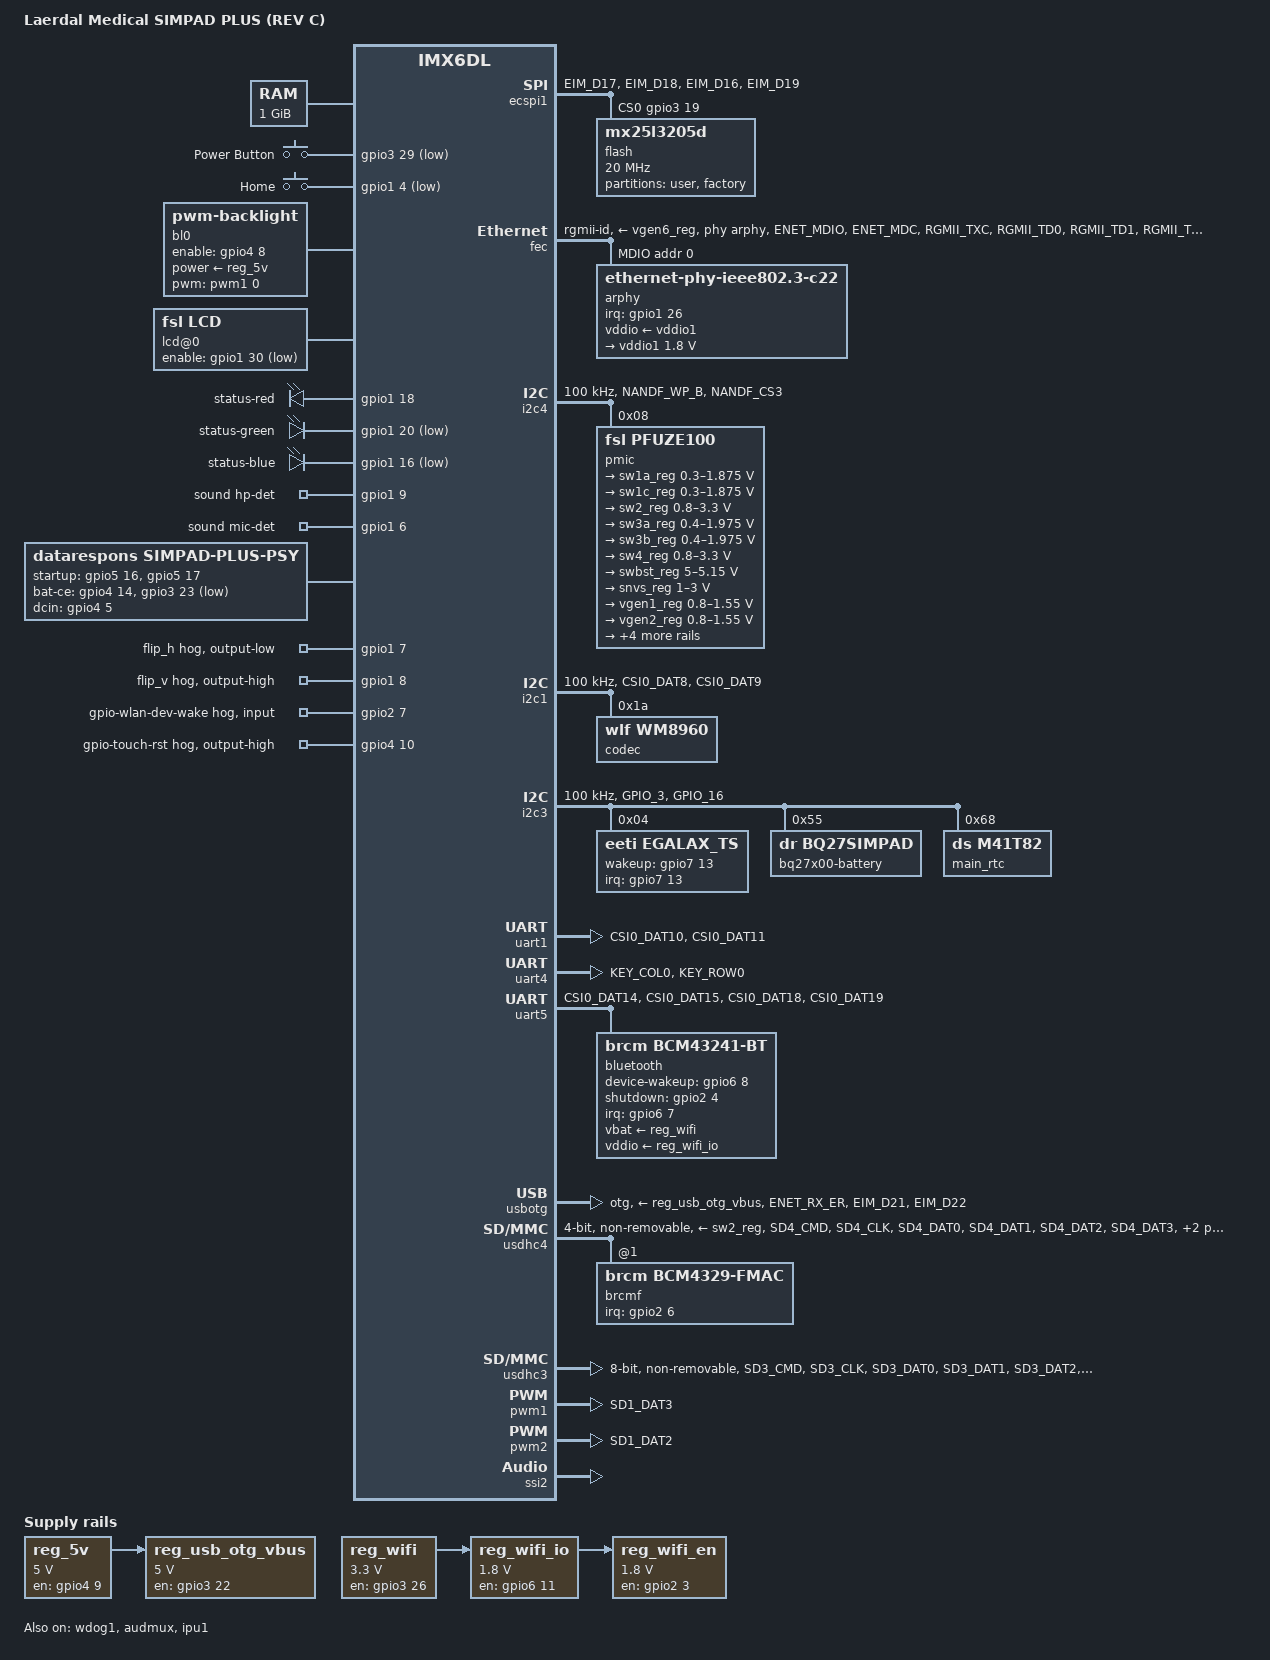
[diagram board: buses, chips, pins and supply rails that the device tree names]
/*
 * Copyright DATA RESPONS AS
 *
 * The code contained herein is licensed under the GNU General Public
 * License. You may obtain a copy of the GNU General Public License
 * Version 2 or later at the following locations:
 *
 * http://www.opensource.org/licenses/gpl-license.html
 * http://www.gnu.org/copyleft/gpl.html
 */
/dts-v1/;

#include "imx6dl.dtsi"
#include <dt-bindings/input/input.h>
#include <dt-bindings/gpio/gpio.h>
#include <dt-bindings/net/qca-ar803x.h>

/ {
	model = "Laerdal Medical SIMPAD PLUS (REV C)";
	compatible = "datarespons,simpad2", "fsl,imx6dl";

	aliases {
		mxcfb0 = &mxcfb1;
		mmc0 = &usdhc3;
		mmc1 = &usdhc4;
		rtc0 = &main_rtc;
	};

	memory {
		device_type = "memory";
		reg = <0x10000000 0x40000000>;
	};

	chosen {
		stdout-path = &uart1;
	};

   clocks {
		bt_clk: clock@1 {
			#clock-cells = <0>;
			compatible = "fixed-clock";
			clock-output-names = "lpo";
			clock-frequency = <32768>;
		};
	};

	regulators {
		compatible = "simple-bus";

		reg_5v: ext_5v {
			compatible = "regulator-fixed";
			regulator-name = "reg-5V";
			regulator-min-microvolt = <5000000>;
			regulator-max-microvolt = <5000000>;
			gpio = <&gpio4 9 0>;
			enable-active-high;
			regulator-always-on;
		};

		reg_wifi: wifi_pwr {
			compatible = "regulator-fixed";
			regulator-name = "reg_wifi";
			regulator-min-microvolt = <3300000>;
			regulator-max-microvolt = <3300000>;
			gpio = <&gpio3 26 0>;
			enable-active-high;
			regulator-always-on;
		};

		reg_wifi_io: wifi_pwr_io {
			compatible = "regulator-fixed";
			regulator-name = "reg_wifi_io";
			regulator-min-microvolt = <1800000>;
			regulator-max-microvolt = <1800000>;
			gpio = <&gpio6 11 0>;
			enable-active-high;
			vin-supply = <&reg_wifi>;
			startup-delay-us = <0>;
			regulator-always-on;
		};

		reg_wifi_en: wifi_enable {
			compatible = "regulator-fixed";
			regulator-name = "reg_wifi_enable";
			regulator-min-microvolt = <1800000>;
			regulator-max-microvolt = <1800000>;
			gpio = <&gpio2 3 0>;
			enable-active-high;
			vin-supply = <&reg_wifi_io>;
			startup-delay-us = <300>;
			regulator-always-on;
		};

/*
		reg_bt_en: bt_enable {
			compatible = "regulator-fixed";
			regulator-name = "reg_bt_enable";
			regulator-min-microvolt = <1800000>;
			regulator-max-microvolt = <1800000>;
			gpio = <&gpio2 4 0>;
			enable-active-high;
			vin-supply = <&reg_wifi_io>;
			startup-delay-us = <300>;
			regulator-always-on;
		};
*/
		reg_usb_otg_vbus: usb_otg_vbus {
			compatible = "regulator-fixed";
			regulator-name = "usb_otg_vbus";
			regulator-min-microvolt = <5000000>;
			regulator-max-microvolt = <5000000>;
			gpio = <&gpio3 22 0>;
			enable-active-high;
			vin-supply = <&reg_5v>;
		};
	};

	gpio-keys {
		compatible = "gpio-keys";
		power {
			label = "Power Button";
			gpios = <&gpio3 29 GPIO_ACTIVE_LOW>;
			linux,code = <KEY_POWER>; /* KEY_POWER */
			gpio-key,wakeup;
		};

		key-function {
			label = "Home";
			gpios = <&gpio1 4 GPIO_ACTIVE_LOW>;
			linux,code = <KEY_F12>;
		};

	};

	bl0: backlight  {
		compatible = "pwm-backlight";
		pwms = <&pwm1 0 25000>;
		brightness-levels = < 0 1 2 3 4 5 6 8  11 16  23  32 48
							  64 81 100 121 144 169 196 225
							  256 289 324 361 400 441 484 529
							  576 625 676 729 784 841 900 961
							  1024 1089 1156 1225 1296 1369 1444 1521
							  1600 1681 1764 1849 1936 2025 2116 2209 >;
		default-brightness-level = <32>;
		power-supply = <&reg_5v>;
		enable-gpios = <&gpio4 8 GPIO_ACTIVE_HIGH>;
		status = "okay";
	};

/*
	lcd_display: disp0 {
		compatible = "fsl,imx-parallel-display";
		#address-cells = <1>;
		#size-cells = <0>;
		interface-pix-fmt = "bgr666";
		pinctrl-names = "default";
		pinctrl-0 = <&pinctrl_ipu1_simpad>;
		status = "okay";

		port@0 {
			reg = <0>;

			lcd_display_in: endpoint {
				remote-endpoint = <&ipu1_di0_disp0>;
			};
		};

		port@1 {
			reg = <1>;

			lcd_display_out: endpoint {
				remote-endpoint = <&lcd_panel_in>;
			};
		};
	};

	panel_dpi: panel-dpi {
		compatible = "panel-dpi";
		backlight = <&bl0>;
		status = "okay";
		enable-gpio = <&gpio1 30 GPIO_ACTIVE_LOW>;
		width-mm = <211>;
		height-mm = <158>;

		panel-timing {
			clock-frequency = <24750000>;
			hactive = <640>;
			vactive = <480>;
			hback-porch = <108>;
			hfront-porch = <16>;
			hsync-len = <30>;
			vback-porch = <32>;
			vfront-porch = <10>;
			vsync-len = <3>;
			de-active = <1>;
			pixelclk-active = <0>;
		};

		port {
			lcd_panel_in: endpoint {
				remote-endpoint = <&lcd_display_out>;
			};
		};
	};
*/

    lcd@0 {
        compatible = "fsl,lcd";
        ipu_id = <0>;
        disp_id = <0>;
        default_ifmt = "RGB666";
        pinctrl-names = "default";
        pinctrl-0 = <&pinctrl_ipu1_simpad>;
        enable-gpios = <&gpio1 30 GPIO_ACTIVE_LOW>;
        status = "okay";
    };

    mxcfb1: fb@0 {
        compatible = "fsl,mxc_sdc_fb";
        disp_dev = "lcd";
        mode_str ="640x480MR-6@60m";
        interface_pix_fmt = "RGB666";
        default_bpp = <16>;
        int_clk = <0>;
        late_init = <0>;
        status = "okay";
    };

	leds {
		compatible = "gpio-leds";
		status-red {
			gpios = <&gpio1 18 GPIO_ACTIVE_HIGH>;
			default-state = "off";
		};

		status-green {
			gpios = <&gpio1 20 GPIO_ACTIVE_LOW>;
			default-state = "on";
			linux,default-trigger = "timer";
		};

		status-blue {
			gpios = <&gpio1 16 GPIO_ACTIVE_LOW>;
			default-state = "off";
		};
	};

	sound {
		compatible = "fsl,lm-imx-audio-wm8960";
		model = "wm8960-audio";
		audio-cpu = <&ssi2>;
		audio-codec = <&codec>;
		audio-routing =
			"Headphone Jack", "HP_L",
			"Headphone Jack", "HP_R",
			"Ext Spk", "SPK_LP",
			"Ext Spk", "SPK_LN",
			"LINPUT1", "AMIC";
		ncpins = "LINPUT2", "LINPUT3", "RINPUT1", "RINPUT2", "RINPUT3", "SPK_RP", "SPK_RN", "OUT3";
		mux-int-port = <2>;
		mux-ext-port = <3>;
		iphone-jack;
		speaker-auto-switch;
		hp-det-gpios = <&gpio1 9 GPIO_ACTIVE_HIGH>;
		mic-det-gpios = <&gpio1 6 GPIO_ACTIVE_HIGH>;
		status = "okay";
	};

	simpad-plus-psy {
		status = "okay";
		compatible = "datarespons,simpad-plus-psy";
		startup-gpios = <&gpio5 16 GPIO_ACTIVE_HIGH &gpio5 17 GPIO_ACTIVE_HIGH>;
		bat-ce-gpios = <&gpio4 14 GPIO_ACTIVE_HIGH &gpio3 23 GPIO_ACTIVE_LOW>;
		dcin-gpio = <&gpio4 5 GPIO_ACTIVE_HIGH>;
	};
};

&gpio1 {
	flip_h {
		gpio-hog;
		gpios = <7 GPIO_ACTIVE_HIGH>;
		output-low;
	};

	flip_v {
		gpio-hog;
		gpios = <8 GPIO_ACTIVE_HIGH>;
		output-high;
	};
};

&gpio2 {
	gpio-wlan-dev-wake {
		gpio-hog;
		gpios = <7 GPIO_ACTIVE_HIGH>;
		outputh-high;
	};
};

&gpio3 {
	gpio-line-names = "", "", "", "", "", "", "", "",
		"", "", "", "", "", "", "", "",
		"", "", "", "", "spinor-wp", "", "", "chg_iset",
		"", "", "", "hwrev0", "hwrev1";
};

&gpio4 {
	gpio-line-names = "", "", "", "", "", "", "", "",
		"", "", "", "hwrev2", "", "", "chg_nce";

	gpio-touch-rst {
		gpio-hog;
		gpios = <10 GPIO_ACTIVE_HIGH>;
		output-high;
	};
};

&ecspi1 {
	fsl,spi-num-chipselects = <1>;
	cs-gpios = <&gpio3 19 0>;
	pinctrl-names = "default";
	pinctrl-0 = <&pinctrl_ecspi1>;
	status = "okay";
	nodma;

	flash: m25p80@0 {
		#address-cells = <1>;
		#size-cells = <1>;
		compatible = "mx25l3205d", "jedec,spi-nor";
		spi-max-frequency = <20000000>;
		reg = <0>;
		partition@0 {
			label = "user";
			reg = <0 0x00200000>;
		};
		partition@200000 {
			label = "factory";
			reg = <0x00200000 0x00200000>;
		};
	};
};


&ecspi2 {
	fsl,spi-num-chipselects = <1>;
	cs-gpios = <&gpio5 12 0>;
	pinctrl-names = "default";
	pinctrl-0 = <&pinctrl_ecspi2>;
	status = "disabled";
};

&fec {
	pinctrl-names = "default";
	pinctrl-0 = <&pinctrl_enet_lm>;
	phy-mode = "rgmii-id";
	phy-reset-gpios = <&gpio1 25 GPIO_ACTIVE_LOW>;
	status = "okay";
	phy-handle = <&arphy>;
	phy-supply = <&vgen6_reg>;
	mdio {
	   #address-cells = <1>;
	   #size-cells = <0>;
		arphy: ethernet-phy@0 {
			compatible = "ethernet-phy-ieee802.3-c22";
			reg = <0>;
			qca,clk-out-frequency = <125000000>;
			qca,disable-smarteee;
			max-speed = <100>;
			interrupt-parent = <&gpio1>;
			interrupts = <26 IRQ_TYPE_EDGE_FALLING>;
			vddio-supply = <&vddio1>;

			vddio1: vddio-regulator {
				regulator-min-microvolt = <1800000>;
				regulator-max-microvolt = <1800000>;
			};
		};
	};
};

&wdog1 {
	status = "okay";
};

&wdog2 {
	status = "disabled";
};

&i2c4 {
	clock-frequency = <100000>;
	pinctrl-names = "default";
	pinctrl-0 = <&pinctrl_i2c4>;
	status = "okay";

		pmic: pfuze100@8 {
		compatible = "fsl,pfuze100";
		reg = <0x08>;

		regulators {
			sw1a_reg: sw1ab {
				regulator-min-microvolt = <300000>;
				regulator-max-microvolt = <1875000>;
				regulator-boot-on;
				regulator-always-on;
				regulator-ramp-delay = <6250>;
			};

			sw1c_reg: sw1c {
				regulator-min-microvolt = <300000>;
				regulator-max-microvolt = <1875000>;
				regulator-boot-on;
				regulator-always-on;
				regulator-ramp-delay = <6250>;
			};

			sw2_reg: sw2 {
				regulator-min-microvolt = <800000>;
				regulator-max-microvolt = <3300000>;
				regulator-boot-on;
				regulator-always-on;
			};

			sw3a_reg: sw3a {
				regulator-min-microvolt = <400000>;
				regulator-max-microvolt = <1975000>;
				regulator-boot-on;
				regulator-always-on;
			};

			sw3b_reg: sw3b {
				regulator-min-microvolt = <400000>;
				regulator-max-microvolt = <1975000>;
				regulator-boot-on;
				regulator-always-on;
			};

			sw4_reg: sw4 {
				regulator-min-microvolt = <800000>;
				regulator-max-microvolt = <3300000>;
				regulator-boot-on;
				regulator-always-on;
			};

			swbst_reg: swbst {
				regulator-min-microvolt = <5000000>;
				regulator-max-microvolt = <5150000>;
				regulator-boot-on;
				regulator-always-on;
			};

			snvs_reg: vsnvs {
				regulator-min-microvolt = <1000000>;
				regulator-max-microvolt = <3000000>;
				regulator-boot-on;
				regulator-always-on;
			};

			vref_reg: vrefddr {
				regulator-boot-on;
				regulator-always-on;
			};

			vgen1_reg: vgen1 {
				regulator-min-microvolt = <800000>;
				regulator-max-microvolt = <1550000>;
			};

			vgen2_reg: vgen2 {
				regulator-min-microvolt = <800000>;
				regulator-max-microvolt = <1550000>;
			};

			vgen3_reg: vgen3 {
				regulator-min-microvolt = <1800000>;
				regulator-max-microvolt = <3300000>;
			};

			vgen4_reg: vgen4 {
				regulator-min-microvolt = <1500000>;
				regulator-max-microvolt = <3300000>;
				regulator-always-on;
			};

			vgen5_reg: vgen5 {
				regulator-min-microvolt = <1800000>;
				regulator-max-microvolt = <3300000>;
				regulator-always-on;
			};

			vgen6_reg: vgen6 {
				regulator-min-microvolt = <1800000>;
				regulator-max-microvolt = <3300000>;
				regulator-always-on;
			};
		};
	};

};

&i2c1 {
	clock-frequency = <100000>;
	pinctrl-names = "default";
	pinctrl-0 = <&pinctrl_i2c1>;
	status = "okay";

	codec: wm8960@1a {
		compatible = "wlf,wm8960";
		reg = <0x1a>;
		clocks = <&clks IMX6QDL_CLK_CKO>;
		clock-names = "mclk";
		wlf,shared-lrclk;
		status = "okay";
	   };
};

&i2c3 {
	clock-frequency = <100000>;
	pinctrl-names = "default";
	pinctrl-0 = <&pinctrl_i2c3>;
	status = "okay";

	egalax_ts@4 {
		compatible = "eeti,egalax_ts";
		reg = <0x4>;
		interrupt-parent = <&gpio7>;
		interrupts = <13 2>;
		wakeup-gpios = <&gpio7 13 0>;
		disable-suspend = <1>;
		status = "okay";
		};

	bq27x00-battery@55 {
		compatible = "dr,bq27simpad";
		reg = <0x55>;
		status = "okay";
	};

	main_rtc: rtc-m41t82@68 {
		compatible = "ds,m41t82";
		reg = <0x68>;
		xtal-cap = /bits/ 8 <0xc8>;		/* Fix for HW bug, turn off capacitance */
		status = "okay";
	};

};


&iomuxc {
	pinctrl-names = "default";
	pinctrl-0 = <&pinctrl_hog_1>;

	hog {
		pinctrl_hog_1: hoggrp-1 {
			fsl,pins = <
				MX6QDL_PAD_GPIO_4__GPIO1_IO04       0x0001b000      /* Function key (active low, pullup) */
				MX6QDL_PAD_KEY_COL2__GPIO4_IO10     0x80000000      /* Touch reset (low)    */
				MX6QDL_PAD_KEY_ROW1__GPIO4_IO09     0x80000000      /* AUX_5V_EN */
				MX6QDL_PAD_KEY_ROW2__GPIO4_IO11     0x1b000         /* HW_Setting2 */
				MX6QDL_PAD_KEY_ROW4__GPIO4_IO15     0x00002020      /* CLR_STATUS */
				MX6QDL_PAD_KEY_COL4__GPIO4_IO14     0x20            /* Charger_CE */
				MX6QDL_PAD_GPIO_0__CCM_CLKO1        0x130b0         /* External audio clk */
				MX6QDL_PAD_GPIO_6__GPIO1_IO06       0x0001b040		/* Mic detect */
				MX6QDL_PAD_GPIO_7__GPIO1_IO07       0x80000000      /* LCD flip H */
				MX6QDL_PAD_GPIO_8__GPIO1_IO08       0x80000000      /* LCD flip V */
				MX6QDL_PAD_GPIO_9__GPIO1_IO09       0x00010000      /* GP--HP_DET, pullup */
				MX6QDL_PAD_GPIO_18__GPIO7_IO13      0x0001b8b1      /* GP--CTP_nINT (touch interrupt */
				MX6QDL_PAD_GPIO_19__GPIO4_IO05      0x1b0b1         /* DC_IN_nFLG (used as alert) */
				MX6QDL_PAD_NANDF_CS0__GPIO6_IO11    0x00000060      /* GP--WL_VDDIO_EN */
				MX6QDL_PAD_NANDF_RB0__GPIO6_IO10    0x0001b000      /* PMIC_INT_B */
				MX6QDL_PAD_NANDF_D1__GPIO2_IO01     0x0001b000      /* ACCL_INT_IN */
				MX6QDL_PAD_NANDF_D3__GPIO2_IO03     0x00000060      /* WL_REG_ON (WiFI power) */
				MX6QDL_PAD_NANDF_D4__GPIO2_IO04     0x00000060      /* BT_REG_ON (Bluetooth power) */
				MX6QDL_PAD_EIM_A25__GPIO5_IO02      0x0001b000      /* Recovery_setting (control boot) */
				MX6QDL_PAD_EIM_D20__GPIO3_IO20      0x80000000      /* GP--nWP--flash (SPI flash WP) */
				MX6QDL_PAD_EIM_D23__GPIO3_IO23      0x20            /* GP--CHarger_ISET */
				MX6QDL_PAD_EIM_D26__GPIO3_IO26      0x00000060      /* GP--WL_BAT_PWR_EN */
				MX6QDL_PAD_EIM_D27__GPIO3_IO27      0x0001b000      /* HW_Setting_0 */
				MX6QDL_PAD_EIM_D28__GPIO3_IO28      0x0001b000      /* HW_Setting_1 */
				MX6QDL_PAD_EIM_D29__GPIO3_IO29      0x0001b000      /* PPWR_BTN_SNS */
				MX6QDL_PAD_EIM_D31__GPIO3_IO31      0x0001b000      /* DDR_Setting */
				MX6QDL_PAD_SD1_CMD__GPIO1_IO18      0x80000000      /* LED_R_Status--CPU */
				MX6QDL_PAD_SD1_CLK__GPIO1_IO20      0x80000000      /* LED_G_Status--CPU */
				MX6QDL_PAD_SD1_DAT0__GPIO1_IO16     0x80000000      /* LED_B_Status--CPU */

				MX6QDL_PAD_ENET_CRS_DV__GPIO1_IO25  0x80000000      /* Phy reset (low) */
				MX6QDL_PAD_ENET_RXD1__GPIO1_IO26    0x80000000      /* Phy IRQ */
				MX6QDL_PAD_ENET_TXD0__GPIO1_IO30    0x80000000      /* DISP0_PWR_EN */
				MX6QDL_PAD_KEY_COL1__GPIO4_IO08     0x80000000      /* Backlight Enable */
				MX6QDL_PAD_DISP0_DAT22__GPIO5_IO16  0x80000000      /* START_ADAPTER */
				MX6QDL_PAD_DISP0_DAT23__GPIO5_IO17  0x80000000      /* START_KEY */
			>;
		};
	};

	bluetooth {
		pinctrl_bt1: bt1grp {
			fsl,pins = <
				MX6QDL_PAD_NANDF_CLE__GPIO6_IO07    0x0001b010      /* GP--BT_HOST_WAKE */
				MX6QDL_PAD_NANDF_ALE__GPIO6_IO08    0x00000060      /* GP--BT_WAKE */
				MX6QDL_PAD_NANDF_D5__GPIO2_IO05     0x0001E060      /* BT clock request */
			>;
		};
	};

	wifi {
		pinctrl_wifi1: wifi1grp {
			fsl,pins = <
				MX6QDL_PAD_NANDF_D6__GPIO2_IO06     0x0001b010      /* GP--WL_HOST_WAKE */
				MX6QDL_PAD_NANDF_D7__GPIO2_IO07     0x00000060      /* GP--WL_DEV_WAKE */
			>;
		};
	};

	ecspi1 {
		pinctrl_ecspi1: ecspi1grp {
			fsl,pins = <
				MX6QDL_PAD_EIM_D17__ECSPI1_MISO 0x100b1
				MX6QDL_PAD_EIM_D18__ECSPI1_MOSI 0x100b1
				MX6QDL_PAD_EIM_D16__ECSPI1_SCLK 0x100b1
				MX6QDL_PAD_EIM_D19__GPIO3_IO19  0x100b1
			>;
		};
	};

	ecspi2 {
		pinctrl_ecspi2: ecspi2grp {
			fsl,pins = <
				MX6QDL_PAD_EIM_OE__ECSPI2_MISO  0x100b1
				MX6QDL_PAD_EIM_CS1__ECSPI2_MOSI 0x100b1
				MX6QDL_PAD_EIM_CS0__ECSPI2_SCLK 0x100b1
				MX6QDL_PAD_DISP0_DAT18__GPIO5_IO12  0x100b1
			>;
		};
	};

	uart1 {
		pinctrl_uart1: uart1grp {
			fsl,pins = <
				MX6QDL_PAD_CSI0_DAT10__UART1_TX_DATA    0x1b0b1
				MX6QDL_PAD_CSI0_DAT11__UART1_RX_DATA    0x1b0b1
			>;
		};
	};

	uart2 {
		pinctrl_uart2: uart2grp {
			fsl,pins = <
				MX6QDL_PAD_GPIO_7__UART2_TX_DATA    0x1b0b1
				MX6QDL_PAD_GPIO_8__UART2_RX_DATA    0x1b0b1
			>;
		};
	};

	uart3 {
		pinctrl_uart3: uart3grp {
			fsl,pins = <
				MX6QDL_PAD_EIM_D24__UART3_TX_DATA   0x1b0b1
				MX6QDL_PAD_EIM_D25__UART3_RX_DATA   0x1b0b1
			>;
		};
	};

	uart4 {
		pinctrl_uart4: uart4grp {
			fsl,pins = <
				MX6QDL_PAD_KEY_COL0__UART4_TX_DATA  0x1b0b1
				MX6QDL_PAD_KEY_ROW0__UART4_RX_DATA  0x1b0b1
			>;
		};
	};

	pwm1 {
		pinctrl_pwm1: pwm1grp {
			fsl,pins = <
				MX6QDL_PAD_SD1_DAT3__PWM1_OUT       0x1b0b1
			>;
		};
	};

	pwm2 {
		pinctrl_pwm2: pwm2grp {
			fsl,pins = <
				MX6QDL_PAD_SD1_DAT2__PWM2_OUT 0x1b0b1
			>;
		};
	};

	i2c3 {
		pinctrl_i2c3: i2c3grp {
			fsl,pins = <
				MX6QDL_PAD_GPIO_3__I2C3_SCL 0x4001b8b1
				MX6QDL_PAD_GPIO_16__I2C3_SDA 0x4001b8b1
			>;
		};
	};

	i2c4 {
		pinctrl_i2c4: i2c4grp {
			fsl,pins = <
				MX6QDL_PAD_NANDF_WP_B__I2C4_SCL 0x4001b8b1
				MX6QDL_PAD_NANDF_CS3__I2C4_SDA 0x4001b8b1
			>;
		};
	};

	usbotg {
		pinctrl_usbotg_lm: usbotggrp-lm {
			fsl,pins = <
				MX6QDL_PAD_ENET_RX_ER__USB_OTG_ID   0x17059
				MX6QDL_PAD_EIM_D21__USB_OTG_OC      0x17059
				MX6QDL_PAD_EIM_D22__GPIO3_IO22      0x80000000

			>;
		};
	};

	usdhc3 {
		pinctrl_usdhc3: usdhc3grp {
			fsl,pins = <
				MX6QDL_PAD_SD3_CMD__SD3_CMD     0x17059
				MX6QDL_PAD_SD3_CLK__SD3_CLK     0x10059
				MX6QDL_PAD_SD3_DAT0__SD3_DATA0      0x17059
				MX6QDL_PAD_SD3_DAT1__SD3_DATA1      0x17059
				MX6QDL_PAD_SD3_DAT2__SD3_DATA2      0x17059
				MX6QDL_PAD_SD3_DAT3__SD3_DATA3      0x17059
				MX6QDL_PAD_SD3_DAT4__SD3_DATA4      0x17059
				MX6QDL_PAD_SD3_DAT5__SD3_DATA5      0x17059
				MX6QDL_PAD_SD3_DAT6__SD3_DATA6      0x17059
				MX6QDL_PAD_SD3_DAT7__SD3_DATA7      0x17059
			>;
		};
	};

	usdhc4 {
		pinctrl_usdhc4: usdhc4grp {
			fsl,pins = <
				MX6QDL_PAD_SD4_CMD__SD4_CMD     0x17059
				MX6QDL_PAD_SD4_CLK__SD4_CLK     0x10059
				MX6QDL_PAD_SD4_DAT0__SD4_DATA0      0x17059
				MX6QDL_PAD_SD4_DAT1__SD4_DATA1      0x17059
				MX6QDL_PAD_SD4_DAT2__SD4_DATA2      0x17059
				MX6QDL_PAD_SD4_DAT3__SD4_DATA3      0x17059
			>;
		};

		pinctrl_usdhc4_100mhz: usdhc4grp_100mhz {
			fsl,pins = <
				MX6QDL_PAD_SD4_CMD__SD4_CMD    0x170B1
				MX6QDL_PAD_SD4_CLK__SD4_CLK    0x100B1
				MX6QDL_PAD_SD4_DAT0__SD4_DATA0 0x170B1
				MX6QDL_PAD_SD4_DAT1__SD4_DATA1 0x170B1
				MX6QDL_PAD_SD4_DAT2__SD4_DATA2 0x170B1
				MX6QDL_PAD_SD4_DAT3__SD4_DATA3 0x170B1
			>;
		};

		pinctrl_usdhc4_200mhz: usdhc4grp_200mhz {
			fsl,pins = <
				MX6QDL_PAD_SD4_CMD__SD4_CMD    0x170F9
				MX6QDL_PAD_SD4_CLK__SD4_CLK    0x100F9
				MX6QDL_PAD_SD4_DAT0__SD4_DATA0 0x170F9
				MX6QDL_PAD_SD4_DAT1__SD4_DATA1 0x170F9
				MX6QDL_PAD_SD4_DAT2__SD4_DATA2 0x170F9
				MX6QDL_PAD_SD4_DAT3__SD4_DATA3 0x170F9
			>;
		};
	};

	audmux {
		pinctrl_audmux: audmuxgrp {
			fsl,pins = <
				MX6QDL_PAD_CSI0_DAT7__AUD3_RXD      0x130b0
				MX6QDL_PAD_CSI0_DAT4__AUD3_TXC      0x130b0
				MX6QDL_PAD_CSI0_DAT5__AUD3_TXD      0x110b0
				MX6QDL_PAD_CSI0_DAT6__AUD3_TXFS     0x130b0
				MX6QDL_PAD_SD2_DAT0__AUD4_RXD       0x130b0
				MX6QDL_PAD_SD2_DAT3__AUD4_TXC       0x130b0
				MX6QDL_PAD_SD2_DAT2__AUD4_TXD       0x110b0
				MX6QDL_PAD_SD2_DAT1__AUD4_TXFS      0x130b0
			>;
		};
	};

	i2c1 {
		pinctrl_i2c1: i2c1grp {
			fsl,pins = <
				MX6QDL_PAD_CSI0_DAT8__I2C1_SDA      0x4001b8b1
				MX6QDL_PAD_CSI0_DAT9__I2C1_SCL      0x4001b8b1
			>;
		};
	};
	enet {
		pinctrl_enet_lm: enetgrp-lm2 {
			fsl,pins = <
				MX6QDL_PAD_ENET_MDIO__ENET_MDIO       0x1b030
				MX6QDL_PAD_ENET_MDC__ENET_MDC         0x1b030
				MX6QDL_PAD_RGMII_TXC__RGMII_TXC       0x1b030
				MX6QDL_PAD_RGMII_TD0__RGMII_TD0       0x1b030
				MX6QDL_PAD_RGMII_TD1__RGMII_TD1       0x1b030
				MX6QDL_PAD_RGMII_TD2__RGMII_TD2       0x1b030
				MX6QDL_PAD_RGMII_TD3__RGMII_TD3       0x1b030
				MX6QDL_PAD_RGMII_TX_CTL__RGMII_TX_CTL 0x1b030
				MX6QDL_PAD_ENET_REF_CLK__ENET_TX_CLK  0x40000031
				MX6QDL_PAD_RGMII_RXC__RGMII_RXC       0x1b030
				MX6QDL_PAD_RGMII_RD0__RGMII_RD0       0x1b030
				MX6QDL_PAD_RGMII_RD1__RGMII_RD1       0x1b030
				MX6QDL_PAD_RGMII_RD2__RGMII_RD2       0x1b030
				MX6QDL_PAD_RGMII_RD3__RGMII_RD3       0x1b030
				MX6QDL_PAD_RGMII_RX_CTL__RGMII_RX_CTL 0x1b030
			>;
		};
	};

	uart5 {
		pinctrl_uart5_simpad2: uart5grp-simpad2 {
		fsl,pins = <
			MX6QDL_PAD_CSI0_DAT14__UART5_TX_DATA 0x1b0b1
			MX6QDL_PAD_CSI0_DAT15__UART5_RX_DATA 0x1b0b1
			MX6QDL_PAD_CSI0_DAT18__UART5_RTS_B   0x1b0b1
			MX6QDL_PAD_CSI0_DAT19__UART5_CTS_B   0x1b0b1
		>;
		};
	};

	ipu1 {
		pinctrl_ipu1_simpad: ipu1grp-simpad {
			fsl,pins = <
				MX6QDL_PAD_DI0_DISP_CLK__IPU1_DI0_DISP_CLK	0x10
				MX6QDL_PAD_DI0_PIN15__IPU1_DI0_PIN15		0x10
				MX6QDL_PAD_DI0_PIN2__IPU1_DI0_PIN02		    0x10
				MX6QDL_PAD_DI0_PIN3__IPU1_DI0_PIN03		    0x10
				MX6QDL_PAD_DI0_PIN4__IPU1_DI0_PIN04			0x80000000
				MX6QDL_PAD_DISP0_DAT0__IPU1_DISP0_DATA00	0x10
				MX6QDL_PAD_DISP0_DAT1__IPU1_DISP0_DATA01	0x10
				MX6QDL_PAD_DISP0_DAT2__IPU1_DISP0_DATA02	0x10
				MX6QDL_PAD_DISP0_DAT3__IPU1_DISP0_DATA03	0x10
				MX6QDL_PAD_DISP0_DAT4__IPU1_DISP0_DATA04	0x10
				MX6QDL_PAD_DISP0_DAT5__IPU1_DISP0_DATA05	0x10
				MX6QDL_PAD_DISP0_DAT6__IPU1_DISP0_DATA06	0x10
				MX6QDL_PAD_DISP0_DAT7__IPU1_DISP0_DATA07	0x10
				MX6QDL_PAD_DISP0_DAT8__IPU1_DISP0_DATA08	0x10
				MX6QDL_PAD_DISP0_DAT9__IPU1_DISP0_DATA09	0x10
				MX6QDL_PAD_DISP0_DAT10__IPU1_DISP0_DATA10	0x10
				MX6QDL_PAD_DISP0_DAT11__IPU1_DISP0_DATA11	0x10
				MX6QDL_PAD_DISP0_DAT12__IPU1_DISP0_DATA12	0x10
				MX6QDL_PAD_DISP0_DAT13__IPU1_DISP0_DATA13	0x10
				MX6QDL_PAD_DISP0_DAT14__IPU1_DISP0_DATA14	0x10
				MX6QDL_PAD_DISP0_DAT15__IPU1_DISP0_DATA15	0x10
				MX6QDL_PAD_DISP0_DAT16__IPU1_DISP0_DATA16	0x10
				MX6QDL_PAD_DISP0_DAT17__IPU1_DISP0_DATA17	0x10
			>;
		};

	};
};

&ldb {
	status = "disabled";
	};

&pcie {
	status = "disabled";
};

&uart1 {
	pinctrl-names = "default";
	pinctrl-0 = <&pinctrl_uart1>;
	status = "okay";
};

&uart4 {
	pinctrl-names = "default";
	pinctrl-0 = <&pinctrl_uart4>;
	status = "okay";
};

&uart5 {
	pinctrl-names = "default";
	pinctrl-0 = <&pinctrl_uart5_simpad2>;
	uart-has-rtscts;
	/* fsl,dte-mode; */
	status = "okay";

	bluetooth {
		compatible = "brcm,bcm43241-bt";
		clocks = <&bt_clk 0>;
		clock-names = "lpo";
		max-speed = <921600>;
		device-wakeup-gpios = <&gpio6 8 GPIO_ACTIVE_HIGH>;
		interrupt-parent = <&gpio6>;
		interrupts = <7 IRQ_TYPE_LEVEL_HIGH>;
		interrupt-names = "host-wakeup";
		shutdown-gpios = <&gpio2 4 GPIO_ACTIVE_HIGH>;
		pinctrl-names = "default";
		pinctrl-0 = <&pinctrl_bt1>;
		vbat-supply = <&reg_wifi>;
		vddio-supply = <&reg_wifi_io>;
	};
};

&usbh1 {
	status = "disabled";
};

&usbotg {
	pinctrl-names = "default";
	pinctrl-0 = <&pinctrl_usbotg_lm>;
	vbus-supply = <&reg_usb_otg_vbus>;
	over-current-active-low;
	disable_over_current;
	dr_mode = "otg";
	status = "okay";
};

&usdhc1 {
	status = "disabled";
};

&usdhc2 {
	status = "disabled";
};

&usdhc4 {
	status = "disabled";
	pinctrl-names = "default";
	pinctrl-0 = <&pinctrl_usdhc4_100mhz &pinctrl_wifi1>;
	bus-width = <4>;
	non-removable;
	/* no-1-8-v; */
	keep-power-in-suspend;
	/delete-property/ enable-sdio-wakeup;
	status = "okay";
	pm-ignore-notify;
	vmmc-supply = <&sw2_reg>;
	vqmmc-supply = <&vgen4_reg>;
	voltage-ranges = <1800 3300>;
	sd-uhs-ddr50;

	#address-cells = <1>;
	#size-cells = <0>;
	brcmf: wifi@1 {
		compatible = "brcm,bcm4329-fmac";
		reg = <1>;
		interrupt-parent = <&gpio2>;
		interrupts = <6 IRQ_TYPE_LEVEL_LOW>;
		interrupt-names = "host-wake";
	};
};

&usdhc3 {
	pinctrl-names = "default";
	pinctrl-0 = <&pinctrl_usdhc3>;
	bus-width = <8>;
	non-removable;
	keep-power-in-suspend;
	status = "okay";
	voltage-ranges = <1800 3300>;
};


&pwm1 {
	#pwm-cells = <2>;
	pinctrl-names = "default";
	pinctrl-0 = <&pinctrl_pwm1>;
	status = "okay";
};

&pwm2 {
	#pwm-cells = <2>;
	pinctrl-names = "default";
	pinctrl-0 = <&pinctrl_pwm2>;
	status = "okay";
};

&epdc {
	status = "disabled";
};

&audmux {
	pinctrl-names = "default";
	pinctrl-0 = <&pinctrl_audmux>;
	status = "okay";
};

&clks {
	assigned-clocks = <&clks IMX6QDL_CLK_PLL4_AUDIO_DIV>,
			  <&clks IMX6QDL_PLL4_BYPASS>,
			  <&clks IMX6QDL_CLK_ESAI_SEL>,
			  <&clks IMX6QDL_CLK_ESAI_EXTAL>;
	assigned-clock-parents = <&clks IMX6QDL_CLK_PLL4_POST_DIV>,
				<&clks IMX6QDL_CLK_PLL4>, <&clks IMX6QDL_CLK_PLL4_AUDIO_DIV>;
	assigned-clock-rates = <786432000>, <0>, <0>, <24576000>;
};

&ssi2 {
	fsl,mode = "i2s-slave";
	status = "okay";
};

&esai {
	status = "disabled";
};

&snvs_poweroff {
	status = "okay";
};

&ipu1 {
	status = "okay";
};
